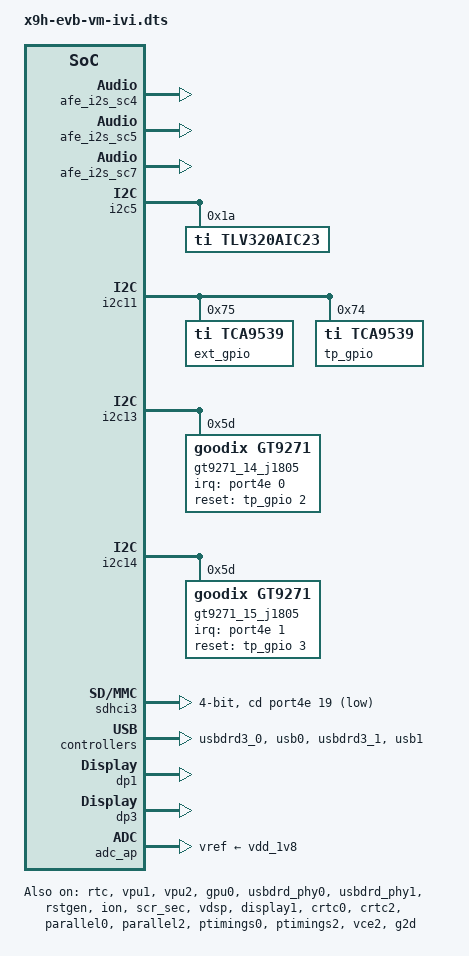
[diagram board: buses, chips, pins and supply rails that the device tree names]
/dts-v1/;

#include "x9-vm.dtsi"
#include "display-xen.dtsi"
#include "clk-xen.dtsi"
#include "lcd-timings-xen.dtsi"
#include "x9-clk-common-xen.dtsi"
#include "vdsp-xen.dtsi"
#include "x9-gpu.dtsi"
#include "x9-import.dtsi"
#include "x9-reset-common.dtsi"

/ {

        reserved-memory {
		#address-cells = <0x2>;
		#size-cells = <0x2>;
		ranges;

		linux,cma {
			compatible = "shared-dma-pool";
			reusable;
			size = <0x0 0x40000000>; /* 1024MB */
			/* 4GB maximum in case of 32-bit only capable devices */
			alloc-ranges = <0x0 0x0 0x0 0xffffffff>;
			linux,cma-default;
		};

		vm_shmem: vm_shm,cma {
			compatible = "shared-dma-pool";
			reg = <0x0 XEN_RESERVED_VM_BASE 0x0 XEN_RESERVED_VM_SIZE>;
			status = "okay";
		};

		xrp_shared: xrp@0 {
			reg = <0x0 XEN_RESERVED_VDSP_BASE 0x0 XEN_RESERVED_VDSP_SIZE>;
                        no-map;
		};
	};
};

&sound {
       status = "okay";
       semidrive,audio-codec = <&tlv320aic23>;
};

&rtc {
	status = "okay";
};

&dmac4 {
	status = "okay";
        vm,passthrough;
};

&dmac5 {
	status = "okay";
        vm,passthrough;
};

&dmac6 {
	status = "okay";
        vm,passthrough;
};

&afe_i2s_sc4 {
	status = "okay";
};

&afe_i2s_sc5{
	dmas = <&dmac4 X9_DMA_SLV_ID_I2S_SC6_TX>, <&dmac4 X9_DMA_SLV_ID_I2S_SC6_RX>;
	dma-names = "tx", "rx";
	status = "okay";
};

&afe_i2s_sc7{
	dmas = <&dmac4 X9_DMA_SLV_ID_I2S_SC8_TX>, <&dmac4 X9_DMA_SLV_ID_I2S_SC8_RX>;
	dma-names = "tx", "rx";
	status = "okay";
};

&i2c5 {
        status = "okay";
	tlv320aic23: codec@1a {
		compatible = "ti,tlv320aic23";
		reg = <0x1a>;
	};
	/*
	tlv320aic23: codec@1b {
		compatible = "ti,tlv320aic23";
		reg = <0x1b>;
	}; */
};

&i2c8 {
        status = "disabled";

		ov5640:ov5640@3c {
			compatible = "ovti,ov5640";
			clocks = <&CSI_MCLK1>;
			clock-names = "csi-mclk";
			clock-frequency = <24000000>;
			reg = <0x3c>;
			powerdown-gpios = <&cam_gpio 8 0>;
			reset-gpios = <&cam_gpio 9 0>;
			port {
				#address-cells = <1>;
				#size-cells = <0>;

				ov5640_to_parallel: endpoint {
					remote-endpoint = <&csiparallel1_in>;
				};
			};
		};

		max9286:max9286@48 {
			compatible = "max,max9286";
			reg = <0x48>;
			pwdn-gpios = <&cam_gpio 2 0>;

			ports {
				port@0 {
					#address-cells = <1>;
					#size-cells = <0>;

					max9286_to_mipi_0: endpoint {
						remote-endpoint = <&csimipi0_0_in>;
					};
				};
				port@1 {
					#address-cells = <1>;
					#size-cells = <0>;

					max9286_to_mipi_1: endpoint {
						remote-endpoint = <&csimipi0_1_in>;
					};
				};
				port@2 {
					#address-cells = <1>;
					#size-cells = <0>;

					max9286_to_mipi_2: endpoint {
						remote-endpoint = <&csimipi0_2_in>;
					};
				};
				port@3 {
					#address-cells = <1>;
					#size-cells = <0>;

					max9286_to_mipi_3: endpoint {
						remote-endpoint = <&csimipi0_3_in>;
					};
				};
			};
		};

		max9286s:max9286s@2c {
			compatible = "max,max9286";
			reg = <0x2c>;
			pwdn-gpios = <&cam_gpio 5 0>;

			ports {
				port@0 {
					#address-cells = <1>;
					#size-cells = <0>;

					max9286s_to_mipi_0: endpoint {
						remote-endpoint = <&csimipi1_0_in>;
					};
				};
				port@1 {
					#address-cells = <1>;
					#size-cells = <0>;

					max9286s_to_mipi_1: endpoint {
						remote-endpoint = <&csimipi1_1_in>;
					};
				};
				port@2 {
					#address-cells = <1>;
					#size-cells = <0>;

					max9286s_to_mipi_2: endpoint {
						remote-endpoint = <&csimipi1_2_in>;
					};
				};
				port@3 {
					#address-cells = <1>;
					#size-cells = <0>;

					max9286s_to_mipi_3: endpoint {
						remote-endpoint = <&csimipi1_3_in>;
					};
				};
			};
		};

		max96706:max96706@78 {
			compatible = "max,max96706";
			clock-frequency = <24000000>;
			reg = <0x78>;
			powerdown-gpios = <&cam_gpio 11 0>;
			gpi-gpios = <&cam_gpio 10 0>;
			port {
				#address-cells = <1>;
				#size-cells = <0>;

				max96706_to_parallel: endpoint {
					remote-endpoint = <&csiparallel0_in>;
				};
			};
		};
};

&i2c9 {
        status = "disabled";

	cam_gpio: gpio@74 {
		compatible = "ti,tca9539";
		reg = <0x74>;
		#gpio-cells = <2>;
		gpio-controller;
	};
};

&i2c10 {
        status = "disabled";
	gt9271_11_j2003:gt9271_11_j2003@5d {
		//pinctrl-names = "default";
		//pinctrl-0 = <&pinctrl_gpiotouch_mipi>;
		compatible = "goodix,gt9271";
		irq-gpios = <&port4d 8 0>;	/*io56*/
		reset-gpios = <&tp_gpio 1 0>;	/*index 1*/
		reg = <0x5d>;
	};
};

&i2c11 {
        status = "okay";
	ext_gpio: gpio@75 {
		compatible = "ti,tca9539";
		reg = <0x75>;
		#gpio-cells = <2>;
		gpio-controller;
	};
	tp_gpio: gpio@74 {
		compatible = "ti,tca9539";
		reg = <0x74>;
		#gpio-cells = <2>;
		gpio-controller;
	};
};

&i2c12 {
	status = "disabled";
};

&i2c13 {
        status = "okay";
	gt9271_14_j1805:gt9271_14_j1805@5d {
                //pinctrl-names = "default";
                //pinctrl-0 = <&pinctrl_gpiotouch_lvds>;
                compatible = "goodix,gt9271";
		irq-gpios = <&port4e 0 0>;	/*io80*/
                reset-gpios = <&tp_gpio 2 0>;	/*index 2*/
                reg = <0x5d>;
                dev_type = <0>;	/* 0: main device, 1: aux device */
        };

};

&i2c14 {
	status = "okay";
	gt9271_15_j1805:gt9271_15_j1805@5d {
		//pinctrl-names = "default";
		//pinctrl-0 = <&pinctrl_gpiotouch_lvds>;
		compatible = "goodix,gt9271";
		irq-gpios = <&port4e 1 0>;	/*io81*/
		reset-gpios = <&tp_gpio 3 0>;		/*index 3*/
		reg = <0x5d>;
                dev_type = <1>;	/* 0: main device, 1: aux device */
	};
};

&i2c15 {
	status = "disabled";
	gt9271_16_j2003:gt9271_16_j2003@5d {
		//pinctrl-names = "default";
		//pinctrl-0 = <&pinctrl_gpiotouch_mipi>;
		compatible = "goodix,gt9271";
		irq-gpios = <&port4d 9 0>;	/*io57*/
		reset-gpios = <&tp_gpio 8 0>;	/*index 8*/
		reg = <0x5d>;
	};
};

&mbox{
	status = "okay";
};

&vpu1 {
	resets = <&rstgen RSTGEN_MODULE_VPU1>;
	reset-names = "vpu-reset";
	status = "okay";
        vm,passthrough;
};

&vpu2 {
	resets = <&rstgen RSTGEN_MODULE_VPU2>;
	reset-names = "vpu-reset";
	status = "okay";
        vm,passthrough;
};

&gpu0 {
        status = "okay";
        vm,passthrough;
        clocks = <&GPU1_0>;
        clock-names = "gpucoreclk";
};

&pinctrl {
	reg = <0x0 0x38500000 0x0 0x10000>;
	pinctrl-names = "default";

	sdx9-evk {

		pinctrl_gpiotouch_lvds: touchgrp_lvds {
                        kunlun,pins = <
			X9_PINCTRL_I2S_MC_SD4__GPIO_MUX2_IO80_1          0x00
			X9_PINCTRL_I2S_MC_SD5__GPIO_MUX2_IO81_1          0x00
                        X9_PINCTRL_I2S_MC_SD6__GPIO_MUX2_IO82_1          0x00
                        X9_PINCTRL_I2S_MC_SD7__GPIO_MUX2_IO83_1          0x00
                        >;
                };
		pinctrl_gpiotouch_mipi: touchgrp_mipi {
                        kunlun,pins = <
			X9_PINCTRL_I2S_SC3_SCK__GPIO_MUX2_IO56_1          0x00
			X9_PINCTRL_I2S_SC3_WS__GPIO_MUX2_IO57_1          0x00
                        >;
                };
		pinctrl_sddetect: sddetect {
			kunlun,pins = <
			X9_PINCTRL_EMMC2_DATA1__GPIO_MUX2_IO99_1	X9_PINCTRL_OPEN_DRAIN_ENABLE
			>;
		};
	};
};

&gpio4 {
	//pinctrl-names = "default";
	//pinctrl-0 = <&pinctrl_gpiotouch_lvds &pinctrl_gpiotouch_mipi>;
	status = "okay";
};


&sdhci3 {
	#clock-cells = <1>;
	clocks = <&EMMC3>;
	clock-names = "core";
	max-frequency = <25000000>;
	//pinctrl-names = "default";
	//pinctrl-0 = <&pinctrl_sddetect>;
	cd-gpios = <&port4e 19 GPIO_ACTIVE_LOW>;
	bus-width = <4>;
	no-1-8-v;
	no-mmc;
	no-sdio;
	disable-wp;
	keep-power-in-suspend;
	status = "okay";
        vm,passthrough;
};


&usbdrd3_0 {
	status = "okay";
};

&usb0 {
	status = "okay";
        vm,passthrough;
};

&usbdrd_phy0 {
             status = "okay";

};

&usbdrd3_1 {
	status = "okay";
};

&usb1 {
	status = "okay";
        vm,passthrough;
};

&usbdrd_phy1 {
             status = "okay";

};

&rstgen {
	reg = <0x0 0x38467000 0x0 0x1000>,	/* vpu1 */
		<0x0 0x38468000 0x0 0x1000>;	/* vpu2 */
	rstgen_resource = <
		RSTGEN_MODULE_VPU1
		RSTGEN_MODULE_VPU2
		>;
	status = "okay";
};

&regctl {
	reg = <0x0 0x38415000 0x0 0x1000>,
              <0x0 0x38418000 0x0 0x1000>,
              <0x0 0x38419000 0x0 0x1000>;
	reg-names = "SDRV_REG_REMAP",
			"SDRV_REG_BOOTREASON",
                        "SDRV_REG_HWID";
	status = "disabled";
};

&ion {
	status = "okay";

	sdrv,display {
		sdrv,ion-heap-type = ION_HEAP_NAME_CARVEOUT;
		memory-region = <&vm_shmem>;
	};

};

&hwsema {
        status = "disabled";
};

&scr_sec {
        status = "okay";
};

&vdsp {
	status = "okay";
};

&vdsp_ipc {
	status = "okay";
};

&display1 {
	sdriv,crtc = <&crtc0 &crtc2>;
	status = "okay";
        reg = <0x00 0x38419000 0x00 0x3000>;

};

&dp1 {
	status = "okay";
};

&dp3 {
	status = "okay";
};

&crtc0 {
	dpc-master = <&dp1>;
	status = "okay";
        vm,passthrough;
};


&crtc2 {
	dpc-master = <&dp3>;
	status = "okay";
        vm,passthrough;
};

&parallel0 {
	status = "okay";
};

&parallel2 {
	status = "okay";
};

&dtimings0 {
	native-mode = <&hd1280x800>;

};


&dtimings2 {
	native-mode = <&hd1280x800_2>;

};

&ptimings0 {
	status = "okay";
};


&ptimings2 {
	status = "okay";
};

&csi0 {
	mbus-type = "mipi-csi2";
	pclk-sample = <1>;
	status = "disabled";
        vm,passthrough;
	ports {
		csi0_stream0: port@0 {
			csi0_stream0_in: endpoint@0 {
				remote-endpoint = <&csimipi0_0_out>;
			};
		};
		csi0_stream1: port@1 {
			csi0_stream1_in: endpoint@0 {
				remote-endpoint = <&csimipi0_1_out>;
			};
		};
		csi0_stream2: port@2 {
			csi0_stream2_in: endpoint@0 {
				remote-endpoint = <&csimipi0_2_out>;
			};
		};
		csi0_stream3: port@3 {
			csi0_stream3_in: endpoint@0 {
				remote-endpoint = <&csimipi0_3_out>;
			};
		};
	};
};

&csi1 {
	mbus-type = "mipi-csi2";
	pclk-sample = <1>;
	status = "disabled";
        vm,passthrough;
	ports {
		csi1_stream0: port@0 {
			csi1_stream0_in: endpoint@0 {
				remote-endpoint = <&csimipi1_0_out>;
			};
		};
		csi1_stream1: port@1 {
			csi1_stream1_in: endpoint@0 {
				remote-endpoint = <&csimipi1_1_out>;
			};
		};
		csi1_stream2: port@2 {
			csi1_stream2_in: endpoint@0 {
				remote-endpoint = <&csimipi1_2_out>;
			};
		};
		csi1_stream3: port@3 {
			csi1_stream3_in: endpoint@0 {
				remote-endpoint = <&csimipi1_3_out>;
			};
		};
	};
};

&csi2 {
	mbus-type = "parallel";
	pclk-sample = <1>;
	status = "disabled";
        vm,passthrough;
	ports {
		csi2_stream0: port@0 {
			csi2_stream0_in: endpoint@0 {
				remote-endpoint = <&csiparalle0_out>;
			};
		};

		csi2_stream1: port@1 {
			csi2_stream1_in: endpoint@0 {
				remote-endpoint = <&csiparalle1_out>;
			};
		};
	};
};
&csimipi0 {
	status = "disabled";
	lanerate = <72000000>;
	hsa = <10>;
	hbp = <20>;
	hsd = <0x60>;
	output-type = <0x1e>;

	ports {
		#address-cells = <1>;
		#size-cells = <0>;

		port@0 {
			#address-cells = <1>;
			#size-cells = <0>;
			reg = <0>;
			csimipi0_0_in: endpoint@0 {
				remote-endpoint = <&max9286_to_mipi_0>;
				reg = <0>;
			};
			csimipi0_0_out: endpoint@1 {
				remote-endpoint = <&csi0_stream0_in>;
				reg = <0>;
			};
		};
		port@1 {
			#address-cells = <1>;
			#size-cells = <0>;
			reg = <1>;
			csimipi0_1_in: endpoint@0 {
				remote-endpoint = <&max9286_to_mipi_1>;
				reg = <1>;
			};
			csimipi0_1_out: endpoint@1 {
				remote-endpoint = <&csi0_stream1_in>;
				reg = <1>;
			};
		};
		port@2 {
			#address-cells = <1>;
			#size-cells = <0>;
			reg = <2>;
			csimipi0_2_in: endpoint@0 {
				remote-endpoint = <&max9286_to_mipi_2>;
				reg = <2>;
			};
			csimipi0_2_out: endpoint@1 {
				remote-endpoint = <&csi0_stream2_in>;
				reg = <2>;
			};
		};
		port@3 {
			#address-cells = <1>;
			#size-cells = <0>;
			reg = <3>;
			csimipi0_3_in: endpoint@0 {
				remote-endpoint = <&max9286_to_mipi_3>;
				reg = <3>;
			};
			csimipi0_3_out: endpoint@1 {
				remote-endpoint = <&csi0_stream3_in>;
				reg = <3>;
			};
		};
	};
};

&csimipi1 {
	status = "disabled";
	lanerate = <72000000>;
	hsa = <10>;
	hbp = <20>;
	hsd = <0x60>;
	output-type = <0x1e>;

	ports {
		#address-cells = <1>;
		#size-cells = <0>;

		port@0 {
			#address-cells = <1>;
			#size-cells = <0>;
			reg = <0>;
			csimipi1_0_in: endpoint@0 {
				remote-endpoint = <&max9286s_to_mipi_0>;
				reg = <0>;
			};
			csimipi1_0_out: endpoint@1 {
				remote-endpoint = <&csi1_stream0_in>;
				reg = <0>;
			};
		};
		port@1 {
			#address-cells = <1>;
			#size-cells = <0>;
			reg = <1>;
			csimipi1_1_in: endpoint@0 {
				remote-endpoint = <&max9286s_to_mipi_1>;
				reg = <1>;
			};
			csimipi1_1_out: endpoint@1 {
				remote-endpoint = <&csi1_stream1_in>;
				reg = <1>;
			};
		};
		port@2 {
			#address-cells = <1>;
			#size-cells = <0>;
			reg = <2>;
			csimipi1_2_in: endpoint@0 {
				remote-endpoint = <&max9286s_to_mipi_2>;
				reg = <2>;
			};
			csimipi1_2_out: endpoint@1 {
				remote-endpoint = <&csi1_stream2_in>;
				reg = <2>;
			};
		};
		port@3 {
			#address-cells = <1>;
			#size-cells = <0>;
			reg = <3>;
			csimipi1_3_in: endpoint@0 {
				remote-endpoint = <&max9286s_to_mipi_3>;
				reg = <3>;
			};
			csimipi1_3_out: endpoint@1 {
				remote-endpoint = <&csi1_stream3_in>;
				reg = <3>;
			};
		};
	};
};

&csiparallel0 {
	status = "disabled";
	#address-cells = <1>;
	#size-cells = <0>;

	port {
		#address-cells = <1>;
		#size-cells = <0>;
		reg = <0>;
		csiparallel0_in: endpoint@0 {
			remote-endpoint = <&max96706_to_parallel>;
		};

		csiparallel0_out: endpoint@1 {
			remote-endpoint = <&csi2_stream0_in>;
		};
	};
};

&csiparallel1 {
	status = "disabled";
	#address-cells = <1>;
	#size-cells = <0>;

	port {
		#address-cells = <1>;
		#size-cells = <0>;
		reg = <1>;
		csiparallel1_in: endpoint@0 {
			remote-endpoint = <&ov5640_to_parallel>;
		};

		csiparallel1_out: endpoint@1 {
			remote-endpoint = <&csi2_stream1_in>;
		};
	};
};

&vce2 {
   /*
 	* op-mode options:
 	* bit 0: rng enable(1) or disable(0)
 	* bit 1: ce enable(1) or disable(0)
 	*/
 	op-mode = <3>;
	status = "okay";
};

&g2d {
     status = "okay";
     vm,passthrough;
};

&adc_ap {
	resolution_value = <0x03>; /*ADC_6_BITS_E0 = 0x00 , ADC_8_BITS_E1 = 0x01 , ADC_10_BITS_E2 = 0x02 , ADC_12_BITS_E3 = 0x03*/
	clksrc_sel = <0x00>; /*ADC_SRC_CLK_ALT_E0 = 0x00 , ADC_SRC_CLK_PCLK_E1 = 0x01 , ADC_SRC_CLK_EXT_E2 = 0x02*/
	clk_value = <24000000>;
	channel_num = <4>;
	use-adc-fifo;
	vref-supply = <&vdd_1v8>;
	status = "okay";
};
